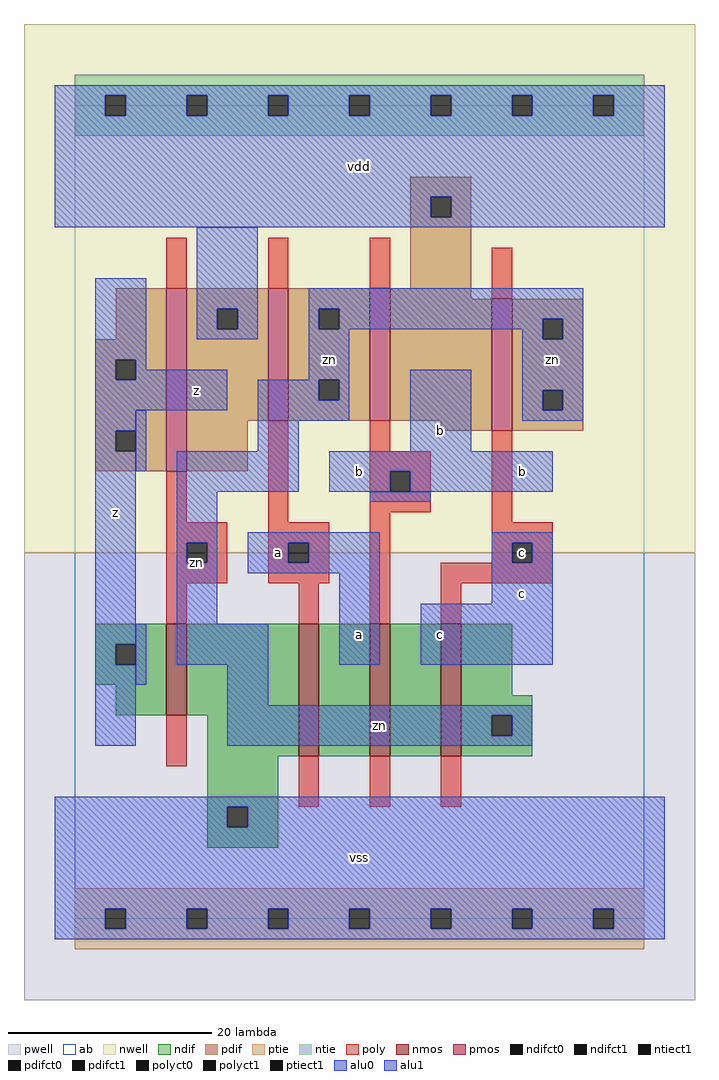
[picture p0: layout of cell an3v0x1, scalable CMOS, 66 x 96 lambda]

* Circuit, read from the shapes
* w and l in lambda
.subckt an3v0x1 a b c vdd vss z zn
M1 vss zn z vss nfet w=9 l=2
M2 n1 a vss vss nfet w=13 l=2
M3 n2 b n1 vss nfet w=13 l=2
M4 zn c n2 vss nfet w=13 l=2
M5 vdd zn z vdd pfet w=18 l=2
M6 zn a vdd vdd pfet w=13 l=2
M7 vdd b zn vdd pfet w=13 l=2
M8 zn c vdd vdd pfet w=13 l=2
.ends

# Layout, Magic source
magic
tech scmos
<< ab >>
rect 0 0 56 80
<< nwell >>
rect -5 36 61 88
<< pwell >>
rect -5 -8 61 36
<< poly >>
rect 9 62 11 67
rect 19 62 21 67
rect 29 62 31 67
rect 41 61 43 66
rect 9 39 11 44
rect 19 39 21 49
rect 29 46 31 49
rect 29 44 35 46
rect 29 42 31 44
rect 33 42 35 44
rect 29 40 35 42
rect 9 37 15 39
rect 9 35 11 37
rect 13 35 15 37
rect 9 33 15 35
rect 19 37 25 39
rect 19 35 21 37
rect 23 35 25 37
rect 19 33 25 35
rect 9 29 11 33
rect 22 29 24 33
rect 29 29 31 40
rect 41 39 43 48
rect 41 37 47 39
rect 41 35 43 37
rect 45 35 47 37
rect 36 33 47 35
rect 36 29 38 33
rect 9 15 11 20
rect 22 11 24 16
rect 29 11 31 16
rect 36 11 38 16
<< ndif >>
rect 2 27 9 29
rect 2 25 4 27
rect 6 25 9 27
rect 2 23 9 25
rect 4 20 9 23
rect 11 20 22 29
rect 13 16 22 20
rect 24 16 29 29
rect 31 16 36 29
rect 38 22 43 29
rect 38 20 45 22
rect 38 18 41 20
rect 43 18 45 20
rect 38 16 45 18
rect 13 11 20 16
rect 13 9 15 11
rect 17 9 20 11
rect 13 7 20 9
<< pdif >>
rect 33 71 39 73
rect 33 69 35 71
rect 37 69 39 71
rect 33 62 39 69
rect 4 57 9 62
rect 2 55 9 57
rect 2 53 4 55
rect 6 53 9 55
rect 2 48 9 53
rect 2 46 4 48
rect 6 46 9 48
rect 2 44 9 46
rect 11 60 19 62
rect 11 58 14 60
rect 16 58 19 60
rect 11 49 19 58
rect 21 60 29 62
rect 21 58 24 60
rect 26 58 29 60
rect 21 53 29 58
rect 21 51 24 53
rect 26 51 29 53
rect 21 49 29 51
rect 31 61 39 62
rect 31 49 41 61
rect 11 44 17 49
rect 36 48 41 49
rect 43 59 50 61
rect 43 57 46 59
rect 48 57 50 59
rect 43 52 50 57
rect 43 50 46 52
rect 48 50 50 52
rect 43 48 50 50
<< alu1 >>
rect -2 81 58 82
rect -2 79 3 81
rect 5 79 11 81
rect 13 79 19 81
rect 21 79 27 81
rect 29 79 35 81
rect 37 79 43 81
rect 45 79 51 81
rect 53 79 58 81
rect -2 71 58 79
rect -2 69 35 71
rect 37 69 58 71
rect -2 68 58 69
rect 2 55 7 63
rect 2 53 4 55
rect 6 54 7 55
rect 6 53 15 54
rect 2 50 15 53
rect 2 48 6 50
rect 2 46 4 48
rect 2 27 6 46
rect 33 46 39 54
rect 25 44 47 46
rect 25 42 31 44
rect 33 42 47 44
rect 17 37 30 38
rect 17 35 21 37
rect 23 35 30 37
rect 17 34 30 35
rect 2 25 4 27
rect 2 17 6 25
rect 26 25 30 34
rect 41 37 47 38
rect 41 35 43 37
rect 45 35 47 37
rect 41 31 47 35
rect 34 25 47 31
rect -2 11 58 12
rect -2 9 15 11
rect 17 9 58 11
rect -2 1 58 9
rect -2 -1 3 1
rect 5 -1 11 1
rect 13 -1 19 1
rect 21 -1 27 1
rect 29 -1 35 1
rect 37 -1 43 1
rect 45 -1 51 1
rect 53 -1 58 1
rect -2 -2 58 -1
<< ptie >>
rect 0 1 56 3
rect 0 -1 3 1
rect 5 -1 11 1
rect 13 -1 19 1
rect 21 -1 27 1
rect 29 -1 35 1
rect 37 -1 43 1
rect 45 -1 51 1
rect 53 -1 56 1
rect 0 -3 56 -1
<< ntie >>
rect 0 81 56 83
rect 0 79 3 81
rect 5 79 11 81
rect 13 79 19 81
rect 21 79 27 81
rect 29 79 35 81
rect 37 79 43 81
rect 45 79 51 81
rect 53 79 56 81
rect 0 77 56 79
<< nmos >>
rect 9 20 11 29
rect 22 16 24 29
rect 29 16 31 29
rect 36 16 38 29
<< pmos >>
rect 9 44 11 62
rect 19 49 21 62
rect 29 49 31 62
rect 41 48 43 61
<< polyct0 >>
rect 11 35 13 37
<< polyct1 >>
rect 31 42 33 44
rect 21 35 23 37
rect 43 35 45 37
<< ndifct0 >>
rect 41 18 43 20
<< ndifct1 >>
rect 4 25 6 27
rect 15 9 17 11
<< ntiect1 >>
rect 3 79 5 81
rect 11 79 13 81
rect 19 79 21 81
rect 27 79 29 81
rect 35 79 37 81
rect 43 79 45 81
rect 51 79 53 81
<< ptiect1 >>
rect 3 -1 5 1
rect 11 -1 13 1
rect 19 -1 21 1
rect 27 -1 29 1
rect 35 -1 37 1
rect 43 -1 45 1
rect 51 -1 53 1
<< pdifct0 >>
rect 14 58 16 60
rect 24 58 26 60
rect 24 51 26 53
rect 46 57 48 59
rect 46 50 48 52
<< pdifct1 >>
rect 35 69 37 71
rect 4 53 6 55
rect 4 46 6 48
<< alu0 >>
rect 12 60 18 68
rect 12 58 14 60
rect 16 58 18 60
rect 12 57 18 58
rect 23 60 50 62
rect 23 58 24 60
rect 26 59 50 60
rect 26 58 46 59
rect 23 53 27 58
rect 44 57 46 58
rect 48 57 50 59
rect 18 51 24 53
rect 26 51 27 53
rect 6 44 7 50
rect 18 49 27 51
rect 18 46 22 49
rect 44 52 50 57
rect 44 50 46 52
rect 48 50 50 52
rect 44 49 50 50
rect 10 42 22 46
rect 10 37 14 42
rect 29 41 35 42
rect 10 35 11 37
rect 13 35 14 37
rect 10 29 14 35
rect 6 23 7 29
rect 10 25 19 29
rect 15 21 19 25
rect 15 20 45 21
rect 15 18 41 20
rect 43 18 45 20
rect 15 17 45 18
<< labels >>
rlabel alu0 12 35 12 35 6 zn
rlabel alu0 25 55 25 55 6 zn
rlabel alu0 30 19 30 19 6 zn
rlabel alu0 47 55 47 55 6 zn
rlabel alu1 4 40 4 40 6 z
rlabel alu1 20 36 20 36 6 a
rlabel alu1 12 52 12 52 6 z
rlabel alu1 28 6 28 6 6 vss
rlabel alu1 28 28 28 28 6 a
rlabel alu1 36 28 36 28 6 c
rlabel alu1 28 44 28 44 6 b
rlabel alu1 36 48 36 48 6 b
rlabel alu1 28 74 28 74 6 vdd
rlabel alu1 44 32 44 32 6 c
rlabel polyct1 44 36 44 36 6 c
rlabel alu1 44 44 44 44 6 b
<< end >>
